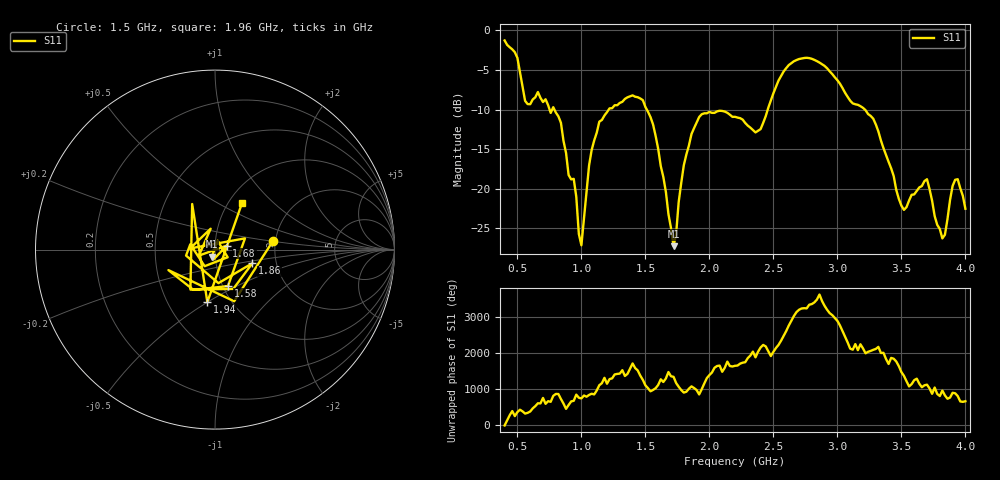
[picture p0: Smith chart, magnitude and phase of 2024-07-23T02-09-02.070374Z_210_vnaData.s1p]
!Created with skrf (http://scikit-rf.org).
# Hz S RI R 50.0
!freq ReS11 ImS11
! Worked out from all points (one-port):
!   181 points, 400 MHz to 4 GHz, reference 50 ohm
!   lowest |S11| = -27.2 dB at 1.72 GHz (marker M1), VSWR 1.09, Z = 48.1 - j3.82 ohm
!   |S11| at or under -10 dB: 789.3 MHz to 1.213 GHz (423.9 MHz wide, 42.3 % of centre); 1.511 GHz to 2.455 GHz (944.2 MHz wide, 47.6 % of centre); 3.215 GHz to end of sweep (the widest 3 of 4)
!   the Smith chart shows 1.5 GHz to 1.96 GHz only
!   S11 on the Smith chart (normalised r, x): 1.5 GHz: 1.94, +0.22; 1.58 GHz: 1.06, -0.45; 1.68 GHz: 1.14, +0.05; 1.86 GHz: 1.50, -0.24; 1.94 GHz: 0.78, -0.50; 1.96 GHz: 1.15, +0.66
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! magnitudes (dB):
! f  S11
! 400 MHz  -1.3
! 500 MHz  -3.5
! 560 MHz  -8.9
! 780 MHz  -9.7
! 860 MHz  -13.9
! 940 MHz  -18.7
! 1 GHz  -27.1
! 1.1 GHz  -13.9
! 1.3 GHz  -9.1
! 1.5 GHz  -9.7
! 1.58 GHz  -13.3
! 1.68 GHz  -23.2
! 1.72 GHz  -27.2
! 1.76 GHz  -21.7
! 1.86 GHz  -13.1
! 1.94 GHz  -10.6
! 1.96 GHz  -10.5
! 2.2 GHz  -10.9
! 2.4 GHz  -12.5
! 2.66 GHz  -3.9
! 3.1 GHz  -8.9
! 3.28 GHz  -11.1
! 3.5 GHz  -22.1
! 3.56 GHz  -21.5
! 3.7 GHz  -18.8
! 3.82 GHz  -26.3
! 3.92 GHz  -18.9
! 4 GHz  -22.5
